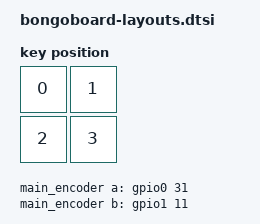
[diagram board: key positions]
// See https://zmk.dev/docs/development/hardware-integration/physical-layouts
// for how to configure this.

#include <physical_layouts.dtsi>

/ {
    default_layout: default_layout {
        compatible = "zmk,physical-layout";
        display-name = "Default Layout";
        transform = <&default_transform>;
        kscan = <&kscan>;

        // Edit this to define the positions and sizes of the keys, or remove it
        // if your keyboard will not support ZMK Studio.
        // https://zmk.dev/docs/development/hardware-integration/physical-layouts#optional-keys-property
        keys  //                     w   h    x    y     rot    rx    ry
            = <&key_physical_attrs 100 100    0    0       0     0     0>
            , <&key_physical_attrs 100 100  100    0       0     0     0>
            , <&key_physical_attrs 100 100    0  100       0     0     0>
            , <&key_physical_attrs 100 100  100  100       0     0     0>
            ;
    };

    //
    main_encoder: encoder_main {
        compatible = "alps,ec11";
        a-gpios = <&gpio0 31 (GPIO_ACTIVE_HIGH | GPIO_PULL_UP)>;
        b-gpios = <&gpio1 11 (GPIO_ACTIVE_HIGH | GPIO_PULL_UP)>;
        steps = <20>;
        status = "okay";
    };

    sensors: sensors {
        compatible = "zmk,keymap-sensors";
        sensors = <&main_encoder>;
        triggers-per-rotation = <20>;
    };
};
